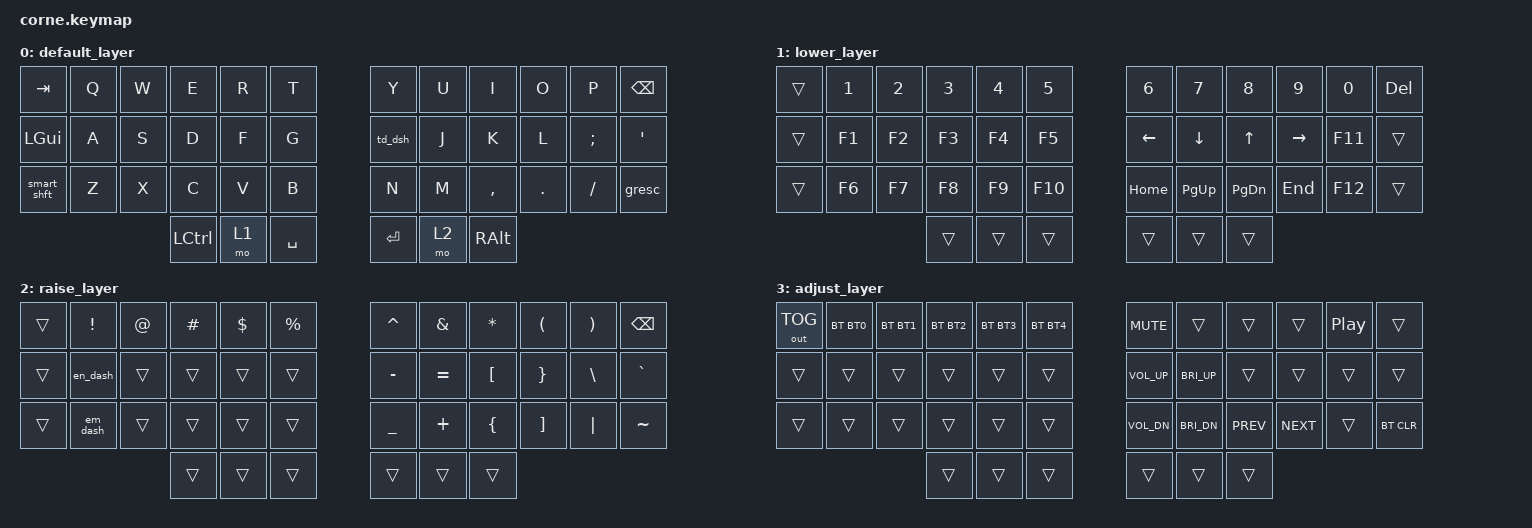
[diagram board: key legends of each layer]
/*
 * Copyright (c) 2020 The ZMK Contributors
 * SPDX-License-Identifier: MIT
 */

#include <behaviors.dtsi>
#include <dt-bindings/zmk/keys.h>
#include <dt-bindings/zmk/bt.h>
#include <dt-bindings/zmk/outputs.h>  // Required for "&out OUT_TOG"

#define DEFAULT 0
#define LOWER 1
#define RAISE 2
#define ADJUST 3

#define BT0 BT_SEL 0
#define BT1 BT_SEL 1
#define BT2 BT_SEL 2
#define BT3 BT_SEL 3
#define BT4 BT_SEL 4

/ {
    chosen {
        zmk,physical-layout = &foostan_corne_6col_layout;
    };
};

/ {

    conditional_layers {
        compatible = "zmk,conditional-layers";
        tri_layer {
            if-layers = <LOWER RAISE>;
            then-layer = <ADJUST>;
        };
    };

    macros {
        ZMK_MACRO(en_dash,
            wait-ms = <40>;
            tap-ms = <40>;
            bindings
                = <&macro_press   &kp LALT>
                , <&macro_tap     &kp KP_N0 &kp KP_N1 &kp KP_N5 &kp KP_N0>
                , <&macro_release &kp LALT>
                ;
        )
        
        ZMK_MACRO(em_dash,
            wait-ms = <40>;
            tap-ms = <40>;
            bindings
                = <&macro_press   &kp LALT>
                , <&macro_tap     &kp KP_N0 &kp KP_N1 &kp KP_N5 &kp KP_N1>
                , <&macro_release &kp LALT>
                ;
        )

    };

    behaviors {
        smart_shft: smart_shift {
            compatible = "zmk,behavior-mod-morph";
            #binding-cells = <0>;
            bindings = <&sk LSHFT>, <&caps_word>;
            mods = <(MOD_LSFT)>;
        };

        td_dsh: tap_dance_dash {
            compatible = "zmk,behavior-tap-dance";
            #binding-cells = <0>;
            tapping-term-ms = <200>;
            bindings = <&kp H>, <&en_dash>, <&em_dash>;         
        };

    }; 

    keymap {
        compatible = "zmk,keymap";

        default_layer {
            // ---------------------------------------------------------------------------------
            // | TAB  |  Q  |  W  |  E   |  R  |  T  |   |  Y  |  U   |  I  |  O  |  P  | BKSP |
            // | GUI  |  A  |  S  |  D   |  F  |  G  |   |  H  |  J   |  K  |  L  |  ;  |  '   |
            // | SHFT |  Z  |  X  |  C   |  V  |  B  |   |  N  |  M   |  ,  |  .  |  /  | ESC  |
            //                    | CTRL | LWR | SPC |   | ENT | RSE  | ALT |
            bindings = <
               &kp TAB     &kp Q &kp W &kp E     &kp R &kp T      &kp Y   &kp U &kp I     &kp O   &kp P    &kp BSPC
               &kp LGUI    &kp A &kp S &kp D     &kp F &kp G      &td_dsh &kp J &kp K     &kp L   &kp SEMI &kp SQT
               &smart_shft &kp Z &kp X &kp C     &kp V &kp B      &kp N   &kp M &kp COMMA &kp DOT &kp FSLH &gresc
                                       &kp LCTRL &mo 1 &kp SPACE  &kp RET &mo 2 &kp RALT
            >;
        };

        lower_layer {
            // -----------------------------------------------------------------------------------
            // | TAB  |  1  |  2  |  3   |  4  |  5  |   |  6   |  7   |  8   |  9   |  0  | DEL |
            // | GIU  | F1  | F2  | F3   | F3  | F5  |   | LEFT | DOWN |  UP  | RIGT | F11 |     |
            // | SHFT | F6  | F7  | F8   | F9  | F10 |   | HOME | PGDN | PGUP | END  | F12 |     |
            //                    | CTRL |     | SPC |   | ENT  |      | ALT  |
            bindings = <
               &trans  &kp N1  &kp N2  &kp N3  &kp N4  &kp N5     &kp N6   &kp N7    &kp N8    &kp N9    &kp N0  &kp DEL
               &trans  &kp F1  &kp F2  &kp F3  &kp F4  &kp F5     &kp LEFT &kp DOWN  &kp UP    &kp RIGHT &kp F11 &trans
               &trans  &kp F6  &kp F7  &kp F8  &kp F9  &kp F10    &kp HOME &kp PG_UP &kp PG_DN &kp END   &kp F12 &trans
                                       &trans  &trans  &trans     &trans   &trans    &trans
            >;
        };

        raise_layer {
            // --------------------------------------------------------------------------------
            // | TAB  |  !  |  @  |  #   |  $  |  %  |   |  ^  |  &  |  *  |  (  |  )  | BKSP |
            // | GUI  |  EN |     |      |     |     |   |  -  |  =  |  [  |  ]  | "|" |  `   |
            // | SHFT |  EM |     |      |     |     |   |  _  |  +  |  {  |  }  |  \  |  ~   |
            //                    | CTRL |     | SPC |   | ENT |     | ALT |
            bindings = <
               &trans &kp EXCL &kp AT &kp HASH &kp DLLR &kp PRCNT    &kp CARET &kp AMPS  &kp ASTRK &kp LPAR &kp RPAR &kp BSPC
               &trans &en_dash &trans &trans   &trans   &trans       &kp MINUS &kp EQUAL &kp LBKT  &kp RBRC &kp BSLH &kp GRAVE
               &trans &em_dash &trans &trans   &trans   &trans       &kp UNDER &kp PLUS  &kp LBRC  &kp RBKT &kp PIPE &kp TILDE
                                      &trans   &trans   &trans       &trans    &trans    &trans
            >;
        };

        adjust_layer {
            // ---------------------------------------------------------------------------------------
            // |      | BT1 | BT2 | BT3  | BT4 | BT5 |   | MUTE|     |     |     |PLAY |     |       |
            // |      |     |     |      |     |     |   | VLUP|BRIUP|     |     |     |     |       |
            // |      |     |     |      |     |     |   | VLDN|BRIDN|PREV |NEXT |     |     | BTCLR |
            //                    | CTRL |     | SPC |   | ENT |     | ALT |
            bindings = <
               &out OUT_TOG &bt BT0 &bt BT1 &bt BT2 &bt BT3 &bt BT4   &kp C_MUTE   &trans       &trans     &trans     &kp C_PP &trans 
               &trans       &trans  &trans  &trans  &trans  &trans    &kp C_VOL_UP &kp C_BRI_UP &trans     &trans     &trans   &trans
               &trans       &trans  &trans  &trans  &trans  &trans    &kp C_VOL_DN &kp C_BRI_DN &kp C_PREV &kp C_NEXT &trans   &bt BT_CLR
                                            &trans &trans   &trans    &trans      &trans       &trans
            >;
        };
    };
};
